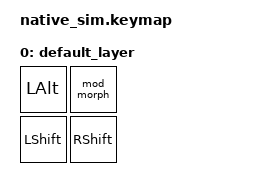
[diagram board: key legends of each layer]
#include <dt-bindings/zmk/keys.h>
#include <behaviors.dtsi>
#include <dt-bindings/zmk/input_mock.h>

/ {
    behaviors {
        mod_morph: mod_morph {
            compatible = "zmk,behavior-mod-morph";
            #binding-cells = <0>;
            bindings = <&kp A>, <&kp LS(B)>;  // implicit mod overwrite
            mods = <(MOD_LSFT|MOD_RSFT)>;
        };
    };

    keymap {
        compatible = "zmk,keymap";

        default_layer {
            bindings = <
                &kp LEFT_ALT &mod_morph
                &kp LEFT_SHIFT &kp RIGHT_SHIFT
            >;
        };
    };
};

&mock_input {
    events = <
        ZMK_INPUT_MOCK_PRESS(1,0,10)
        ZMK_INPUT_MOCK_PRESS(0,1,10)
        ZMK_INPUT_MOCK_RELEASE(0,1,10)
        ZMK_INPUT_MOCK_RELEASE(1,0,10)
    >;
};

